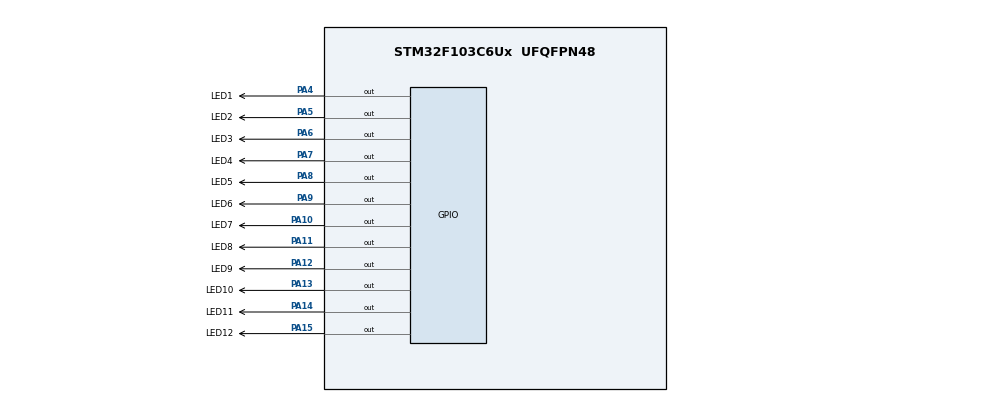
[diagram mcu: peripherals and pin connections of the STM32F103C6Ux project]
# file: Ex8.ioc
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Mcu.Family=STM32F1
Mcu.Name=STM32F103C6Ux
Mcu.Package=UFQFPN48
NVIC.PriorityGroup=NVIC_PRIORITYGROUP_4
PA10.GPIO_Label=LED7
PA10.Signal=GPIO_Output
PA11.GPIO_Label=LED8
PA11.Signal=GPIO_Output
PA12.GPIO_Label=LED9
PA12.Signal=GPIO_Output
PA13.GPIO_Label=LED10
PA13.Signal=GPIO_Output
PA14.GPIO_Label=LED11
PA14.Signal=GPIO_Output
PA15.GPIO_Label=LED12
PA15.Signal=GPIO_Output
PA4.GPIO_Label=LED1
PA4.Signal=GPIO_Output
PA5.GPIO_Label=LED2
PA5.Signal=GPIO_Output
PA6.GPIO_Label=LED3
PA6.Signal=GPIO_Output
PA7.GPIO_Label=LED4
PA7.Signal=GPIO_Output
PA8.GPIO_Label=LED5
PA8.Signal=GPIO_Output
PA9.GPIO_Label=LED6
PA9.Signal=GPIO_Output
ProjectManager.HeapSize=0x200
ProjectManager.StackSize=0x400
ProjectManager.TargetToolchain=STM32CubeIDE
RCC.APB1Freq_Value=8000000
RCC.APB2Freq_Value=8000000
VP_SYS_VS_ND.Mode=No_Debug
board=custom

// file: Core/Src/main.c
/* USER CODE BEGIN Header */
/**
  ******************************************************************************
  * @file           : main.c
  * @brief          : Main program body
  ******************************************************************************
  * @attention
  *
  * <h2><center>&copy; Copyright (c) 2026 STMicroelectronics.
  * All rights reserved.</center></h2>
  *
  * This software component is licensed by ST under BSD 3-Clause license,
  * the "License"; You may not use this file except in compliance with the
  * License. You may obtain a copy of the License at:
  *                        opensource.org/licenses/BSD-3-Clause
  *
  ******************************************************************************
  */
/* USER CODE END Header */
#include "main.h"

/* USER CODE BEGIN PV */
uint16_t LED_Pins[12] = {
  LED1_Pin, LED2_Pin, LED3_Pin, LED4_Pin,
  LED5_Pin, LED6_Pin, LED7_Pin, LED8_Pin,
  LED9_Pin, LED10_Pin, LED11_Pin, LED12_Pin
};
/* USER CODE END PV */

void SystemClock_Config(void);
static void MX_GPIO_Init(void);
/* USER CODE BEGIN PFP */
void clearAllClock(void);
void setNumberOnClock(int num);
/* USER CODE END PFP */

int main(void)
{

  /* MCU Configuration--------------------------------------------------------*/

  /* Reset of all peripherals, Initializes the Flash interface and the Systick. */
  HAL_Init();

  /* Configure the system clock */
  SystemClock_Config();

  /* Initialize all configured peripherals */
  MX_GPIO_Init();
  /* USER CODE BEGIN 2 */
  clearAllClock();     // tắt hết LED khi khởi động
  setNumberOnClock(5);  // test: bật thử LED số 5 (đổi số này để test các vị trí khác)
  /* USER CODE END 2 */

  /* Infinite loop */
  while (1)
  {

  }
}

void SystemClock_Config(void)
{
  RCC_OscInitTypeDef RCC_OscInitStruct = {0};
  RCC_ClkInitTypeDef RCC_ClkInitStruct = {0};

  /** Initializes the RCC Oscillators according to the specified parameters
  * in the RCC_OscInitTypeDef structure.
  */
  RCC_OscInitStruct.OscillatorType = RCC_OSCILLATORTYPE_HSI;
  RCC_OscInitStruct.HSIState = RCC_HSI_ON;
  RCC_OscInitStruct.HSICalibrationValue = RCC_HSICALIBRATION_DEFAULT;
  RCC_OscInitStruct.PLL.PLLState = RCC_PLL_NONE;
  if (HAL_RCC_OscConfig(&RCC_OscInitStruct) != HAL_OK)
  {
    Error_Handler();
  }
  /** Initializes the CPU, AHB and APB buses clocks
  */
  RCC_ClkInitStruct.ClockType = RCC_CLOCKTYPE_HCLK|RCC_CLOCKTYPE_SYSCLK
                              |RCC_CLOCKTYPE_PCLK1|RCC_CLOCKTYPE_PCLK2;
  RCC_ClkInitStruct.SYSCLKSource = RCC_SYSCLKSOURCE_HSI;
  RCC_ClkInitStruct.AHBCLKDivider = RCC_SYSCLK_DIV1;
  RCC_ClkInitStruct.APB1CLKDivider = RCC_HCLK_DIV1;
  RCC_ClkInitStruct.APB2CLKDivider = RCC_HCLK_DIV1;

  if (HAL_RCC_ClockConfig(&RCC_ClkInitStruct, FLASH_LATENCY_0) != HAL_OK)
  {
    Error_Handler();
  }
}

static void MX_GPIO_Init(void)
{
  GPIO_InitTypeDef GPIO_InitStruct = {0};

  /* GPIO Ports Clock Enable */
  __HAL_RCC_GPIOA_CLK_ENABLE();

  /*Configure GPIO pin Output Level */
  HAL_GPIO_WritePin(GPIOA, LED1_Pin|LED2_Pin|LED3_Pin|LED4_Pin
                          |LED5_Pin|LED6_Pin|LED7_Pin|LED8_Pin
                          |LED9_Pin|LED10_Pin|LED11_Pin|LED12_Pin, GPIO_PIN_RESET);

  /*Configure GPIO pins : LED1_Pin LED2_Pin LED3_Pin LED4_Pin
                           LED5_Pin LED6_Pin LED7_Pin LED8_Pin
                           LED9_Pin LED10_Pin LED11_Pin LED12_Pin */
  GPIO_InitStruct.Pin = LED1_Pin|LED2_Pin|LED3_Pin|LED4_Pin
                          |LED5_Pin|LED6_Pin|LED7_Pin|LED8_Pin
                          |LED9_Pin|LED10_Pin|LED11_Pin|LED12_Pin;
  GPIO_InitStruct.Mode = GPIO_MODE_OUTPUT_PP;
  GPIO_InitStruct.Pull = GPIO_NOPULL;
  GPIO_InitStruct.Speed = GPIO_SPEED_FREQ_LOW;
  HAL_GPIO_Init(GPIOA, &GPIO_InitStruct);

}

/* USER CODE BEGIN 4 */
void clearAllClock(void)
{
  for (int i = 0; i < 12; i++)
  {
    HAL_GPIO_WritePin(GPIOA, LED_Pins[i], GPIO_PIN_SET);   // SET = tắt LED (mạch active-low)
  }
}

void setNumberOnClock(int num)
{
  if (num >= 0 && num <= 11)
  {
    HAL_GPIO_WritePin(GPIOA, LED_Pins[num], GPIO_PIN_RESET); // RESET = sáng LED (active-low)
  }
}
/* USER CODE END 4 */

void Error_Handler(void)
{
  __disable_irq();
  while (1)
  {
  }
}

/************************ (C) COPYRIGHT STMicroelectronics *****END OF FILE****/
